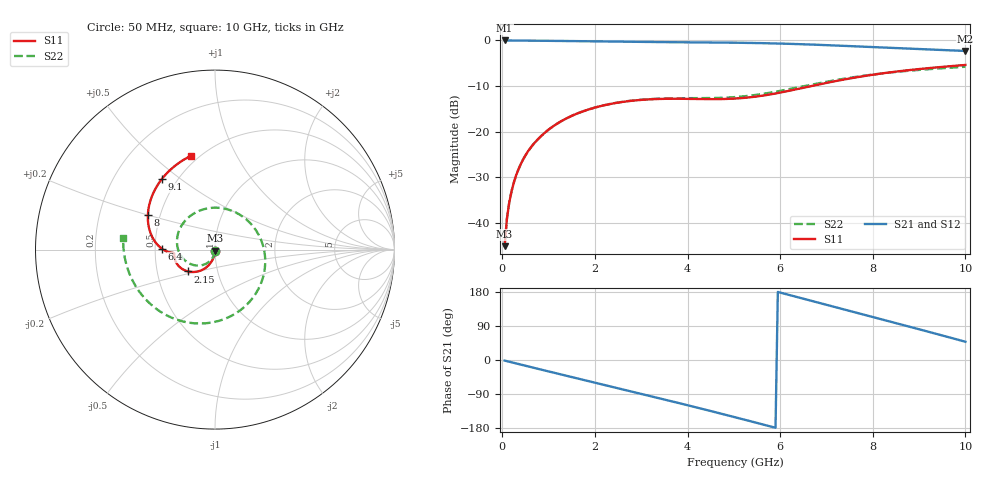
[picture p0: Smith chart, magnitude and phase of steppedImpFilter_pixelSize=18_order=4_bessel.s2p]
! freq	dB(S11)	phase(S11)	dB(S12)	phase(S12)
!  dB(S21)	phase(S21)	dB(S22)	phase(S22)
!S-par simulation data
#  GHz  S  DB  R 50
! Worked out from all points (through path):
!   200 points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, 50 MHz to 10 GHz, reference 50 ohm
!   highest |S21| = 0.00 dB at 50 MHz (marker M1); lowest = -2.3 dB at 10 GHz (marker M2)
!   group delay of S21, straight-line fit = 86.5 ps
!   lowest |S11| = -45.0 dB at 50 MHz (marker M3), VSWR 1.01, Z = 50 - j0.56 ohm
!   |S11| at or under -10 dB: start of sweep to 6.668 GHz
!   |S22| runs from -45.0 to -5.8 dB; largest |S21 - S12| = 0
!   S11 on the Smith chart (normalised r, x): 50 MHz: 1.00, -0.01; 2.15 GHz: 0.72, -0.18; 6.4 GHz: 0.54, +0.01; 8 GHz: 0.43, +0.20; 9.1 GHz: 0.41, +0.43; 10 GHz: 0.45, +0.67
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0.05  -45.03 -91.0  -0.00 -1.5  -0.00 -1.5  -45.04 -91.6
0.1  -39.02 -92.4  -0.00 -3.1  -0.00 -3.1  -39.02 -93.6
0.15  -35.50 -93.8  -0.01 -4.6  -0.01 -4.6  -35.51 -95.5
0.2  -33.01 -95.1  -0.01 -6.1  -0.01 -6.1  -33.02 -97.4
0.35  -28.19 -99.0  -0.02 -10.6  -0.02 -10.6  -28.20 -103.1
0.5  -25.15 -102.9  -0.03 -15.1  -0.03 -15.1  -25.17 -108.8
0.7  -22.39 -108.0  -0.05 -21.2  -0.05 -21.2  -22.40 -116.2
1  -19.52 -114.9  -0.08 -30.2  -0.08 -30.2  -19.53 -126.9
1.75  -15.49 -132.3  -0.18 -52.5  -0.18 -52.5  -15.48 -154.7
2.15  -14.31 -140.8  -0.24 -64.3  -0.24 -64.3  -14.29 -170.0
2.8  -13.20 -153.4  -0.31 -83.5  -0.31 -83.5  -13.16 164.1
3.4  -12.80 -163.1  -0.36 -101.3  -0.36 -101.3  -12.73 137.9
4.2  -12.81 -171.9  -0.42 -125.4  -0.42 -125.4  -12.64 98.2
5.05  -12.71 -175.3  -0.50 -151.8  -0.50 -151.8  -12.38 49.3
5.75  -11.88 -176.6  -0.62 -174.0  -0.62 -174.0  -11.50 7.3
6.4  -10.58 179.1  -0.80 165.0  -0.80 165.0  -10.24 -29.0
6.7  -9.93 175.6  -0.91 155.3  -0.91 155.3  -9.63 -44.5
7.35  -8.60 165.4  -1.17 134.4  -1.17 134.4  -8.42 -75.5
8  -7.50 152.5  -1.46 113.4  -1.46 113.4  -7.46 -103.9
8.35  -7.01 144.7  -1.61 102.2  -1.61 102.2  -7.05 -118.5
9.1  -6.16 127.0  -1.93 77.9  -1.93 77.9  -6.37 -149.3
10  -5.37 104.6  -2.30 48.1  -2.30 48.1  -5.76 172.8
